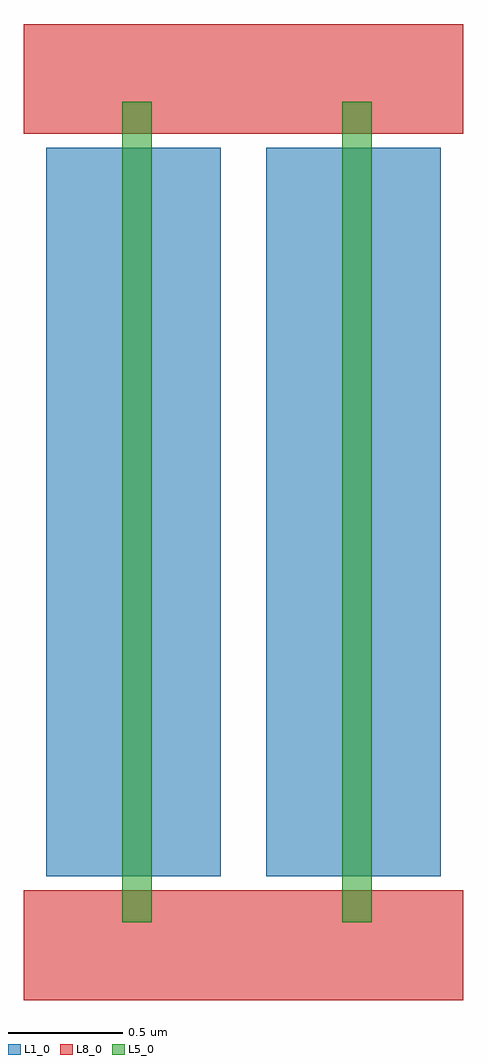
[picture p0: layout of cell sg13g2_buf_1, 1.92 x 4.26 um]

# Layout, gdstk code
import gdstk
lib = gdstk.Library(unit=1e-6, precision=1e-09)
def R(c, l, rs):  # rectangles x0, y0, x1, y1
    for r in rs: c.add(gdstk.rectangle(r[:2], r[2:], *l))
L1_0 = (1, 0)
L5_0 = (5, 0)
L8_0 = (8, 0)

sg13g2_inv_1 = lib.new_cell('sg13g2_inv_1')
R(sg13g2_inv_1, L1_0, [(0.1,0.3,0.86,3.48)])
R(sg13g2_inv_1, L5_0, [(0.43,0.1,0.56,3.68)])
R(sg13g2_inv_1, L8_0, [(0,-0.24,0.96,0.24), (0,3.54,0.96,4.02)])

sg13g2_buf_1 = lib.new_cell('sg13g2_buf_1')
R(sg13g2_buf_1, L8_0, [(0,-0.24,1.92,0.24), (0,3.54,1.92,4.02)])
sg13g2_buf_1.add(gdstk.Reference(sg13g2_inv_1, (0,0)))
sg13g2_buf_1.add(gdstk.Reference(sg13g2_inv_1, (0.96,0)))

lib.write_gds('sg13g2_buf_1.gds')
